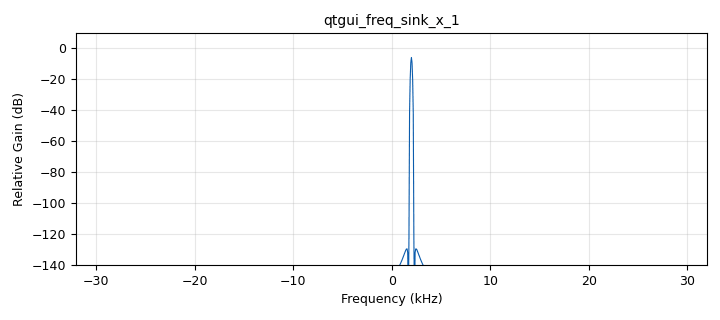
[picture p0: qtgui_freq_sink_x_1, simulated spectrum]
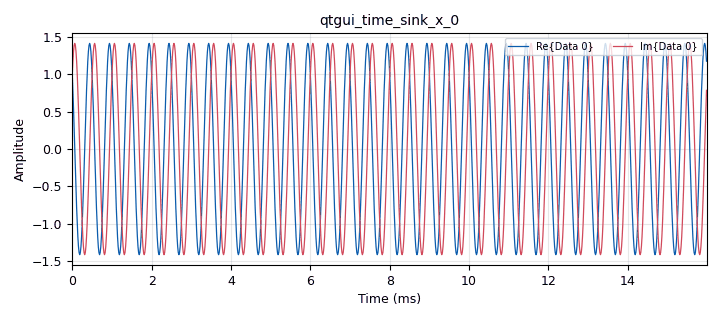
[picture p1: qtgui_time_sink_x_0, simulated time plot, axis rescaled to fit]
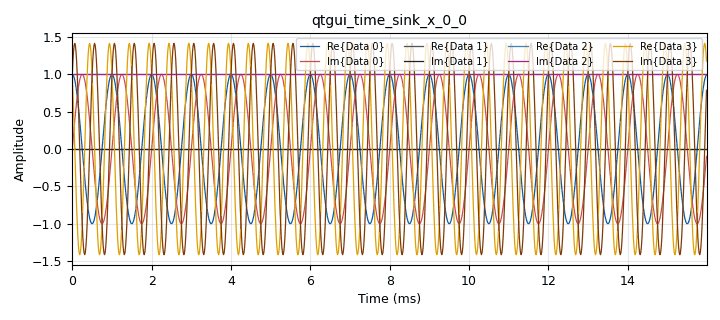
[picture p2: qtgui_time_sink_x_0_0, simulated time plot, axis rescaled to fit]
options:
  parameters:
    generate_options: qt_gui
    id: ask
    output_language: python
    title: Not titled yet
  states: {}

blocks:
- name: cw_frq
  id: variable_qtgui_range
  parameters:
    label: cw_frq
    orient: Qt.Horizontal
    start: 1e3
    step: '100'
    stop: 16e3
    value: 1e3
  states: {}
- name: samp_rate
  id: variable
  parameters:
    value: 64e3
  states: {}
- name: variable_qtgui_chooser_0
  id: variable_qtgui_chooser
  parameters:
    label0: Square_wave
    label1: Zero
    num_opts: '2'
    option0: '0'
    option1: '1'
    type: int
    value: '0'
  states: {}
- name: analog_sig_source_x_0
  id: analog_sig_source_x
  parameters:
    amp: '1'
    freq: cw_frq
    offset: '0'
    phase: '0'
    samp_rate: samp_rate
    type: complex
    waveform: analog.GR_COS_WAVE
  states: {}
- name: analog_sig_source_x_0_0
  id: analog_sig_source_x
  parameters:
    amp: '1'
    freq: cw_frq*2
    offset: '0'
    phase: '0'
    samp_rate: samp_rate
    type: complex
    waveform: analog.GR_COS_WAVE
  states: {}
- name: analog_sig_source_x_1
  id: analog_sig_source_x
  parameters:
    amp: '1'
    freq: cw_frq/1000
    offset: '0'
    phase: '0'
    samp_rate: samp_rate
    type: float
    waveform: analog.GR_SQR_WAVE
  states: {}
- name: analog_sig_source_x_1_0
  id: analog_sig_source_x
  parameters:
    amp: '1'
    freq: cw_frq/1000
    offset: '0'
    phase: '3.14'
    samp_rate: samp_rate
    type: float
    waveform: analog.GR_SQR_WAVE
  states: {}
- name: blocks_add_xx_0
  id: blocks_add_xx
  parameters:
    type: complex
  states: {}
- name: blocks_float_to_complex_0
  id: blocks_float_to_complex
  parameters: {}
  states: {}
- name: blocks_float_to_complex_0_0
  id: blocks_float_to_complex
  parameters: {}
  states: {}
- name: blocks_multiply_xx_0
  id: blocks_multiply_xx
  parameters:
    type: complex
  states: {}
- name: blocks_multiply_xx_0_0
  id: blocks_multiply_xx
  parameters:
    type: complex
  states: {}
- name: import_0
  id: import
  parameters: {}
  states: {}
- name: qtgui_freq_sink_x_0
  id: qtgui_freq_sink_x
  parameters:
    bw: samp_rate
    ctrlpanel: 'True'
    fc: '0'
    fftsize: '1024'
    gui_hint: tabs@1
    type: complex
    wintype: firdes.WIN_BLACKMAN_hARRIS
  states: {state: disabled}
- name: qtgui_freq_sink_x_1
  id: qtgui_freq_sink_x
  parameters:
    bw: samp_rate
    ctrlpanel: 'True'
    fc: '0'
    fftsize: '1024'
    type: complex
    wintype: firdes.WIN_BLACKMAN_hARRIS
  states: {}
- name: qtgui_time_sink_x_0
  id: qtgui_time_sink_x
  parameters:
    ctrlpanel: 'True'
    gui_hint: tabs@1
    size: '1024'
    srate: samp_rate
    type: complex
  states: {}
- name: qtgui_time_sink_x_0_0
  id: qtgui_time_sink_x
  parameters:
    ctrlpanel: 'True'
    gui_hint: tabs@0
    nconnections: '4'
    size: '1024'
    srate: samp_rate
    type: complex
  states: {}
- name: tabs
  id: qtgui_tab_widget
  parameters:
    label0: 1_time_input
    label1: 2_freq
    label2: 3_const_input
    label3: 4_mult_result
    label4: 5_freq_mult
    label5: Tab 5
    num_tabs: '6'
  states: {}

connections:
- [analog_sig_source_x_0, '0', blocks_multiply_xx_0, '0']
- [analog_sig_source_x_0, '0', qtgui_freq_sink_x_0, '0']
- [analog_sig_source_x_0, '0', qtgui_time_sink_x_0_0, '0']
- [analog_sig_source_x_0_0, '0', blocks_multiply_xx_0_0, '1']
- [analog_sig_source_x_1, '0', blocks_float_to_complex_0, '0']
- [analog_sig_source_x_1, '0', blocks_float_to_complex_0, '1']
- [analog_sig_source_x_1_0, '0', blocks_float_to_complex_0_0, '0']
- [analog_sig_source_x_1_0, '0', blocks_float_to_complex_0_0, '1']
- [blocks_add_xx_0, '0', qtgui_freq_sink_x_1, '0']
- [blocks_add_xx_0, '0', qtgui_time_sink_x_0, '0']
- [blocks_float_to_complex_0, '0', blocks_multiply_xx_0, '1']
- [blocks_float_to_complex_0, '0', qtgui_time_sink_x_0_0, '1']
- [blocks_float_to_complex_0_0, '0', blocks_multiply_xx_0_0, '0']
- [blocks_float_to_complex_0_0, '0', qtgui_time_sink_x_0_0, '2']
- [blocks_multiply_xx_0, '0', blocks_add_xx_0, '0']
- [blocks_multiply_xx_0_0, '0', blocks_add_xx_0, '1']
- [blocks_multiply_xx_0_0, '0', qtgui_time_sink_x_0_0, '3']

metadata:
  file_format: 1
